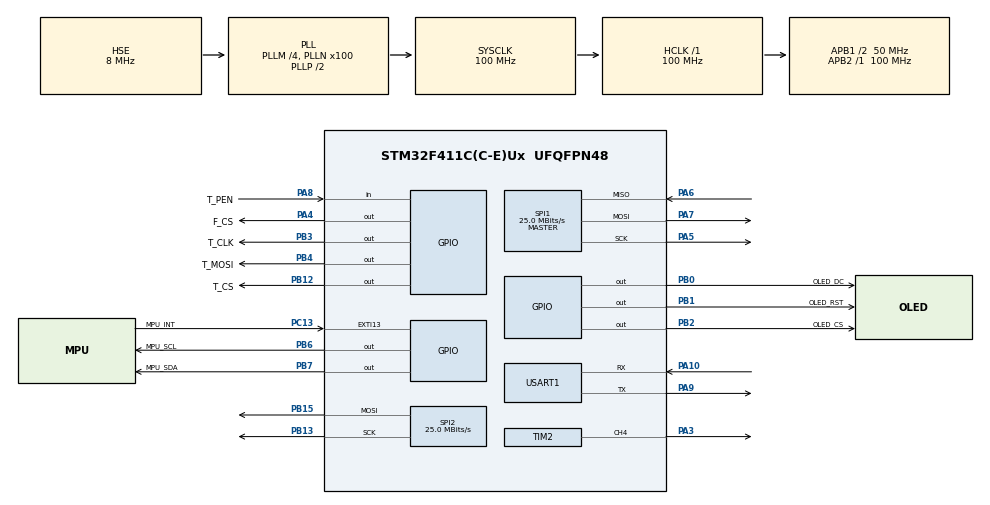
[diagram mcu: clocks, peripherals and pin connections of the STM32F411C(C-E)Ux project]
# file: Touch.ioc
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Dma.Request0=USART1_RX
Dma.USART1_RX.0.Direction=DMA_PERIPH_TO_MEMORY
Dma.USART1_RX.0.FIFOMode=DMA_FIFOMODE_DISABLE
Dma.USART1_RX.0.Instance=DMA2_Stream2
Dma.USART1_RX.0.MemDataAlignment=DMA_MDATAALIGN_BYTE
Dma.USART1_RX.0.MemInc=DMA_MINC_ENABLE
Dma.USART1_RX.0.Mode=DMA_CIRCULAR
Dma.USART1_RX.0.PeriphDataAlignment=DMA_PDATAALIGN_BYTE
Dma.USART1_RX.0.PeriphInc=DMA_PINC_DISABLE
Dma.USART1_RX.0.Priority=DMA_PRIORITY_LOW
Mcu.Family=STM32F4
Mcu.Name=STM32F411C(C-E)Ux
Mcu.Package=UFQFPN48
NVIC.DMA2_Stream2_IRQn=true\:0\:0\:false\:false\:true\:false\:true
NVIC.PriorityGroup=NVIC_PRIORITYGROUP_4
NVIC.USART1_IRQn=true\:0\:0\:false\:false\:true\:true\:true
PA10.Mode=Asynchronous
PA10.Signal=USART1_RX
PA13.Mode=Serial_Wire
PA13.Signal=SYS_JTMS-SWDIO
PA14.Mode=Serial_Wire
PA14.Signal=SYS_JTCK-SWCLK
PA3.Signal=S_TIM2_CH4
PA4.GPIO_Label=F_CS
PA4.GPIO_Speed=GPIO_SPEED_FREQ_VERY_HIGH
PA4.PinState=GPIO_PIN_SET
PA4.Signal=GPIO_Output
PA5.Mode=Full_Duplex_Master
PA5.Signal=SPI1_SCK
PA6.Mode=Full_Duplex_Master
PA6.Signal=SPI1_MISO
PA7.Mode=Full_Duplex_Master
PA7.Signal=SPI1_MOSI
PA8.GPIO_Label=T_PEN
PA8.GPIO_PuPd=GPIO_PULLUP
PA8.Signal=GPIO_Input
PA9.Mode=Asynchronous
PA9.Signal=USART1_TX
PB0.GPIO_Label=OLED_DC
PB0.GPIO_Speed=GPIO_SPEED_FREQ_VERY_HIGH
PB0.PinState=GPIO_PIN_SET
PB0.Signal=GPIO_Output
PB1.GPIO_Label=OLED_RST
PB1.GPIO_Speed=GPIO_SPEED_FREQ_VERY_HIGH
PB1.PinState=GPIO_PIN_SET
PB1.Signal=GPIO_Output
PB12.GPIO_Label=T_CS
PB12.GPIO_Speed=GPIO_SPEED_FREQ_VERY_HIGH
PB12.PinState=GPIO_PIN_SET
PB12.Signal=GPIO_Output
PB13.Mode=TX_Only_Simplex_Unidirect_Master
PB13.Signal=SPI2_SCK
PB15.Mode=TX_Only_Simplex_Unidirect_Master
PB15.Signal=SPI2_MOSI
PB2.GPIO_Label=OLED_CS
PB2.GPIO_Speed=GPIO_SPEED_FREQ_VERY_HIGH
PB2.PinState=GPIO_PIN_SET
PB2.Signal=GPIO_Output
PB3.GPIO_Label=T_CLK
PB3.GPIO_Speed=GPIO_SPEED_FREQ_VERY_HIGH
PB3.PinState=GPIO_PIN_SET
PB3.Signal=GPIO_Output
PB4.GPIO_Label=T_MOSI
PB4.GPIO_Speed=GPIO_SPEED_FREQ_VERY_HIGH
PB4.PinState=GPIO_PIN_SET
PB4.Signal=GPIO_Output
PB6.GPIO_Label=MPU_SCL
PB6.GPIO_PuPd=GPIO_PULLUP
PB6.GPIO_Speed=GPIO_SPEED_FREQ_VERY_HIGH
PB6.PinState=GPIO_PIN_SET
PB6.Signal=GPIO_Output
PB7.GPIO_Label=MPU_SDA
PB7.GPIO_ModeDefaultOutputPP=GPIO_MODE_OUTPUT_OD
PB7.GPIO_PuPd=GPIO_PULLUP
PB7.GPIO_Speed=GPIO_SPEED_FREQ_VERY_HIGH
PB7.PinState=GPIO_PIN_SET
PB7.Signal=GPIO_Output
PC13-ANTI_TAMP.GPIO_Label=MPU_INT
PC13-ANTI_TAMP.GPIO_PuPd=GPIO_PULLUP
PC13-ANTI_TAMP.Signal=GPXTI13
PH0\ -\ OSC_IN.Mode=HSE-External-Oscillator
PH0\ -\ OSC_IN.Signal=RCC_OSC_IN
PH1\ -\ OSC_OUT.Mode=HSE-External-Oscillator
PH1\ -\ OSC_OUT.Signal=RCC_OSC_OUT
ProjectManager.HeapSize=0x200
ProjectManager.StackSize=0x800
ProjectManager.TargetToolchain=MDK-ARM V5.27
RCC.48MHZClocksFreq_Value=50000000
RCC.AHBFreq_Value=100000000
RCC.APB1CLKDivider=RCC_HCLK_DIV2
RCC.APB1Freq_Value=50000000
RCC.APB1TimFreq_Value=100000000
RCC.APB2Freq_Value=100000000
RCC.APB2TimFreq_Value=100000000
RCC.CortexFreq_Value=100000000
RCC.HCLKFreq_Value=100000000
RCC.HSE_VALUE=8000000
RCC.HSI_VALUE=16000000
RCC.LSE_VALUE=32768
RCC.PLLM=4
RCC.PLLN=100
RCC.PLLSourceVirtual=RCC_PLLSOURCE_HSE
RCC.SYSCLKFreq_VALUE=100000000
RCC.SYSCLKSource=RCC_SYSCLKSOURCE_PLLCLK
RCC.VCOOutputFreq_Value=200000000
SH.S_TIM2_CH4.0=TIM2_CH4,PWM Generation4 CH4
SPI1.BaudRatePrescaler=SPI_BAUDRATEPRESCALER_4
SPI1.CLKPhase=SPI_PHASE_2EDGE
SPI1.CLKPolarity=SPI_POLARITY_HIGH
SPI1.CalculateBaudRate=25.0 MBits/s
SPI1.Direction=SPI_DIRECTION_2LINES
SPI1.Mode=SPI_MODE_MASTER
SPI1.VirtualType=VM_MASTER
SPI2.CalculateBaudRate=25.0 MBits/s
SPI2.Direction=SPI_DIRECTION_2LINES
SPI2.Mode=SPI_MODE_MASTER
SPI2.VirtualType=VM_MASTER
TIM2.Channel-PWM\ Generation4\ CH4=TIM_CHANNEL_4
TIM2.Period=1000
TIM2.Prescaler=10
USART1.VirtualMode=VM_ASYNC
board=custom

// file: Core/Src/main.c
/* USER CODE BEGIN Header */
/**
  ******************************************************************************
  * @file           : main.c
  * @brief          : Main program body
  ******************************************************************************
  * @attention
  *
  * <h2><center>&copy; Copyright (c) 2022 STMicroelectronics.
  * All rights reserved.</center></h2>
  *
  * This software component is licensed by ST under BSD 3-Clause license,
  * the "License"; You may not use this file except in compliance with the
  * License. You may obtain a copy of the License at:
  *                        opensource.org/licenses/BSD-3-Clause
  *
  ******************************************************************************
  */
/* USER CODE END Header */
#include "main.h"
#include "dma.h"
#include "spi.h"
#include "tim.h"
#include "usart.h"
#include "gpio.h"

/* USER CODE BEGIN Includes */
#include <stdio.h>
#include <stdlib.h>
#include <string.h>
#include "math.h"

#include "oled.h"
#include "w25qxx.h"
#include "mpu6050.h"
#include "nrf.h"

/* USER CODE END Includes */

void SystemClock_Config(void);

/* USER CODE BEGIN 0 */
#define USE_DMP_EN    1
__IO uint8_t mpu_flag = 0;
char str_buf[120];

void test_mpu(uint8_t i)
{
    float pitch,roll,yaw;       //欧拉角
    short accx,accy,accz;       //加速度传感器原始数据
    short gyrox,gyroy,gyroz;    //陀螺仪原始数据
    short temp;                 //温度

    uint8_t t;
    for(t=0; t<i; t++)
    {
        if(mpu_dmp_get_data(&pitch,&roll,&yaw)==0)
        {
            temp=MPU_Get_Temperature();                 //得到温度值
            MPU_Get_Accelerometer(&accx,&accy,&accz);   //得到加速度传感器数据
            MPU_Get_Gyroscope(&gyrox,&gyroy,&gyroz);    //得到陀螺仪数据
        }
        sprintf(str_buf,"A:%d,%d,%d",accx,accy,accz);
        OLED_Show_Str(0,16,str_buf,12,1);
        sprintf(str_buf,"G:%d,%d,%d",gyrox,gyroy,gyroz);
        OLED_Show_Str(0,40,str_buf,12,1);
        OLED_Refresh_Gram();
        HAL_Delay(50);
    }
}

void test_fun(void)
{
    int i;
#if OLED_MOVE_DEMO_EN
    OLED_Clear(0);
    for(i=0; i<46; i++)
    {
        OLED_Show_Str(10,16 * i + 10,(char *)articl[i],16,1);
    }

    OLED_OFFSET_Y = 0;
    OLED_DrawRectangle(0 + 5,0 + 5,OLED_PAGE_H * OLED_W - 1 - 5,OLED_PAGE_V * OLED_H - 1 - 5,1);
    OLED_Draw_Circle(128,128,63,1);
    OLED_Refresh_Gram();

    while(1)
    {

        //oled_move_dir = !oled_move_dir;
        for(i=0; i<(OLED_PAGE_V - 1) * OLED_H; i++)
        {
            OLED_CUR_POS_Y = i;
            OLED_CUR_POS_X = 0;
            OLED_Refresh_Gram();
            HAL_Delay(25);
        }
        for(i=(OLED_PAGE_V - 1) * OLED_H - 1; i>0; i--)
        {
            OLED_CUR_POS_Y = i;
            OLED_CUR_POS_X = 0;
            OLED_Refresh_Gram();
            HAL_Delay(5);
        }
        for(i=0; i<(OLED_PAGE_H - 1) * OLED_W; i++)
        {
            OLED_CUR_POS_Y = 0;
            OLED_CUR_POS_X = i;
            OLED_Refresh_Gram();
            HAL_Delay(25);
        }
        for(i=0; i<(OLED_PAGE_V - 1) * OLED_H; i++)
        {
            OLED_CUR_POS_Y = i;
            OLED_CUR_POS_X = 128;
            OLED_Refresh_Gram();
            HAL_Delay(15);
        }
        for(i=(OLED_PAGE_V - 1) * OLED_H - 1; i>0; i--)
        {
            OLED_CUR_POS_Y = i;
            OLED_CUR_POS_X = 128;
            OLED_Refresh_Gram();
            HAL_Delay(5);
        }
        for(i=(OLED_PAGE_H - 1) * OLED_W; i>0; i--)
        {
            OLED_CUR_POS_Y = 0;
            OLED_CUR_POS_X = i;
            OLED_Refresh_Gram();
            HAL_Delay(15);
        }

        for(i=0; i<360; i+=2)
        {
            OLED_CUR_POS_Y = 96 + (sin(i * 3.14 / 180) * 63);
            OLED_CUR_POS_X = 64 + (cos(i * 3.14 / 180) * 63);
            OLED_Refresh_Gram();
            HAL_Delay(20);
        }
    }
#endif
MPUinit:
    Set_MPU(1);
    i = MPU_Init();
    if(i != 0)
    {
        sprintf(str_buf,"MPU1:%3d",i);
        OLED_Show_Str(0,32,str_buf,16,1);
        OLED_Refresh_Gram();
        HAL_Delay(100);
        goto MPUinit;
    }
#if USE_DMP_EN
DMPinit:
    i = mpu_dmp_init();
    if(i != 0)
    {
        sprintf(str_buf,"DMP1:%3d",i);
        OLED_Show_Str(0,32,str_buf,16,1);
        OLED_Refresh_Gram();
        HAL_Delay(100);
        goto DMPinit;
    }
#endif
    mpu_flag = 1;
    if(1)test_mpu(100);
}

/* USER CODE END 0 */

int main(void)
{
  /* USER CODE BEGIN 1 */
    int i;
  /* USER CODE END 1 */

  /* MCU Configuration--------------------------------------------------------*/

  /* Reset of all peripherals, Initializes the Flash interface and the Systick. */
  HAL_Init();

  /* Configure the system clock */
  SystemClock_Config();

  /* Initialize all configured peripherals */
  MX_GPIO_Init();
  MX_DMA_Init();
  MX_TIM2_Init();
  MX_USART1_UART_Init();
  MX_SPI1_Init();
  MX_SPI2_Init();
  /* USER CODE BEGIN 2 */
    if(0)
    {
    HAL_TIM_PWM_Start(&htim2,TIM_CHANNEL_4);
    __HAL_TIM_SetCompare(&htim2,TIM_CHANNEL_4,50);
    }
    OLED_Init();
    W25QXX_Init();
    OLED_Show_Str(0,0,"正常模式OLED",16,1);
    OLED_Refresh_Gram();
    test_fun();
  /* USER CODE END 2 */

  /* Infinite loop */
  while (1)
  {

    /* USER CODE BEGIN 3 */
      sendPower((i ++) % 40 + 60,100);
      HAL_Delay(100);
      if(0)
      {
          for(i=0;i<1000;i++)
          {
              __HAL_TIM_SetCompare(&htim2,TIM_CHANNEL_4,i);
              HAL_Delay(1);
          }
          for(i=999;i>0;i--)
          {
              __HAL_TIM_SetCompare(&htim2,TIM_CHANNEL_4,i);
              HAL_Delay(1);
          }
      }
  }
  /* USER CODE END 3 */
}

void SystemClock_Config(void)
{
  RCC_OscInitTypeDef RCC_OscInitStruct = {0};
  RCC_ClkInitTypeDef RCC_ClkInitStruct = {0};

  /** Configure the main internal regulator output voltage
  */
  __HAL_RCC_PWR_CLK_ENABLE();
  __HAL_PWR_VOLTAGESCALING_CONFIG(PWR_REGULATOR_VOLTAGE_SCALE1);
  /** Initializes the RCC Oscillators according to the specified parameters
  * in the RCC_OscInitTypeDef structure.
  */
  RCC_OscInitStruct.OscillatorType = RCC_OSCILLATORTYPE_HSE;
  RCC_OscInitStruct.HSEState = RCC_HSE_ON;
  RCC_OscInitStruct.PLL.PLLState = RCC_PLL_ON;
  RCC_OscInitStruct.PLL.PLLSource = RCC_PLLSOURCE_HSE;
  RCC_OscInitStruct.PLL.PLLM = 4;
  RCC_OscInitStruct.PLL.PLLN = 100;
  RCC_OscInitStruct.PLL.PLLP = RCC_PLLP_DIV2;
  RCC_OscInitStruct.PLL.PLLQ = 4;
  if (HAL_RCC_OscConfig(&RCC_OscInitStruct) != HAL_OK)
  {
    Error_Handler();
  }
  /** Initializes the CPU, AHB and APB buses clocks
  */
  RCC_ClkInitStruct.ClockType = RCC_CLOCKTYPE_HCLK|RCC_CLOCKTYPE_SYSCLK
                              |RCC_CLOCKTYPE_PCLK1|RCC_CLOCKTYPE_PCLK2;
  RCC_ClkInitStruct.SYSCLKSource = RCC_SYSCLKSOURCE_PLLCLK;
  RCC_ClkInitStruct.AHBCLKDivider = RCC_SYSCLK_DIV1;
  RCC_ClkInitStruct.APB1CLKDivider = RCC_HCLK_DIV2;
  RCC_ClkInitStruct.APB2CLKDivider = RCC_HCLK_DIV1;

  if (HAL_RCC_ClockConfig(&RCC_ClkInitStruct, FLASH_LATENCY_3) != HAL_OK)
  {
    Error_Handler();
  }
}

void Error_Handler(void)
{
  __disable_irq();
  while (1)
  {
  }
}

/************************ (C) COPYRIGHT STMicroelectronics *****END OF FILE****/
